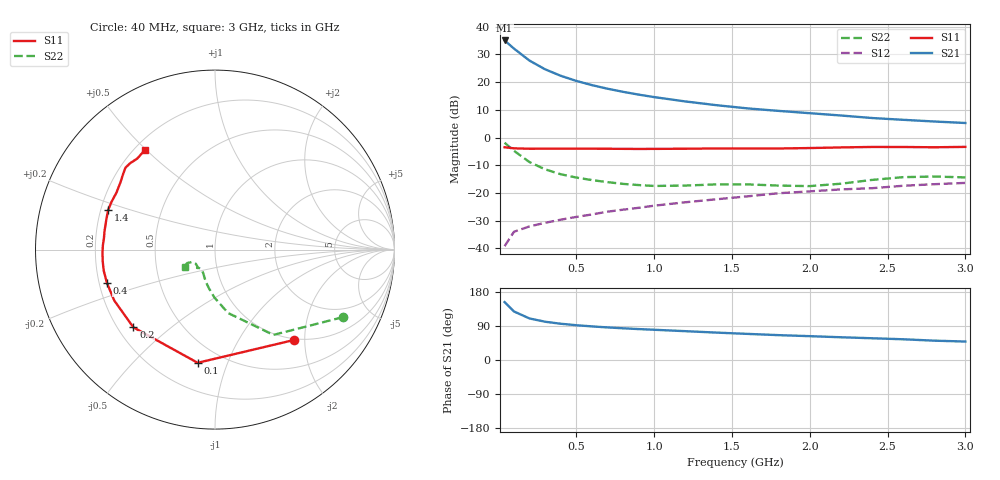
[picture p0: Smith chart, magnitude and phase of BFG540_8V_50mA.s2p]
! Filename:  BFG540L.S2P  Version:  3.0
! Philips part #: BFG540  Date: Feb 1992
! Bias condition: Vce=8V, Ic=50mA
! IN LINE PINNING: same data as with cross emitter pinning.
#  MHz  S  MA  R  50
! Freq  S11  S21  S12  S22  !GUM [dB]
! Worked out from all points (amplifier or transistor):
!   21 points, 40 MHz to 3 GHz, reference 50 ohm
!   highest |S21| = 35.0 dB at 40 MHz (marker M1)
!   |S21| within 3 dB of that: start of sweep to 101.7 MHz
!   unconditionally stable (mu >= 1): 705.4 MHz to end of sweep
!   at 300 MHz: K = 0.67, MSG = 27.7 dB, |S12| = -30.8 dB
!   at 1 GHz: K = 1.12, MAG = 17.5 dB, |S12| = -24.6 dB
!   at 3 GHz: K = 1.17, MAG = 8.3 dB, |S12| = -16.4 dB
!   S11 on the Smith chart (normalised r, x): 40 MHz: 0.97, -1.77; 100 MHz: 0.37, -0.79; 200 MHz: 0.26, -0.38; 400 MHz: 0.23, -0.14; 1.4 GHz: 0.23, +0.17; 3 GHz: 0.24, +0.49
40  0.668 -49.0  56.2 152.8  0.011 68.1  0.805 -27.9
100  0.638 -98.7  40.13 128.1  0.02 51.1  0.576 -55.6
200  0.628 -136.4  24.34 109.6  0.025 45.6  0.361 -78.3
300  0.629 -153.2  16.98 101.0  0.029 46.7  0.267 -90.7
400  0.63 -162.7  12.98 95.7  0.033 49.8  0.218 -99.0
500  0.631 -169.2  10.49 91.8  0.037 52.5  0.19 -104.9
600  0.629 -174.2  8.814 88.7  0.041 55.7  0.171 -109.5
700  0.627 -178.5  7.593 86.0  0.046 57.7  0.157 -113.2
800  0.625 177.7  6.67 83.7  0.05 59.5  0.146 -116.8
900  0.622 174.1  5.941 81.6  0.054 61.2  0.139 -120.9
1000  0.624 170.6  5.357 79.8  0.059 62.5  0.134 -124.9
1200  0.628 164.6  4.474 76.1  0.068 64.1  0.136 -131.6
1400  0.635 159.8  3.829 72.3  0.077 64.6  0.143 -134.1
1600  0.635 155.3  3.35 68.9  0.087 66.1  0.143 -134.2
1800  0.634 150.1  3.02 65.6  0.099 65.7  0.136 -136.3
2000  0.646 144.7  2.745 62.9  0.107 66.1  0.133 -143.6
2200  0.663 140.5  2.495 60.0  0.116 65.6  0.147 -151.8
2400  0.676 137.6  2.247 57.4  0.122 66.2  0.172 -154.3
2600  0.675 134.7  2.086 54.7  0.135 65.1  0.193 -151.8
2800  0.667 130.4  1.944 51.0  0.144 62.9  0.198 -148.9
3000  0.678 125.4  1.827 48.7  0.152 63.3  0.191 -150.3
